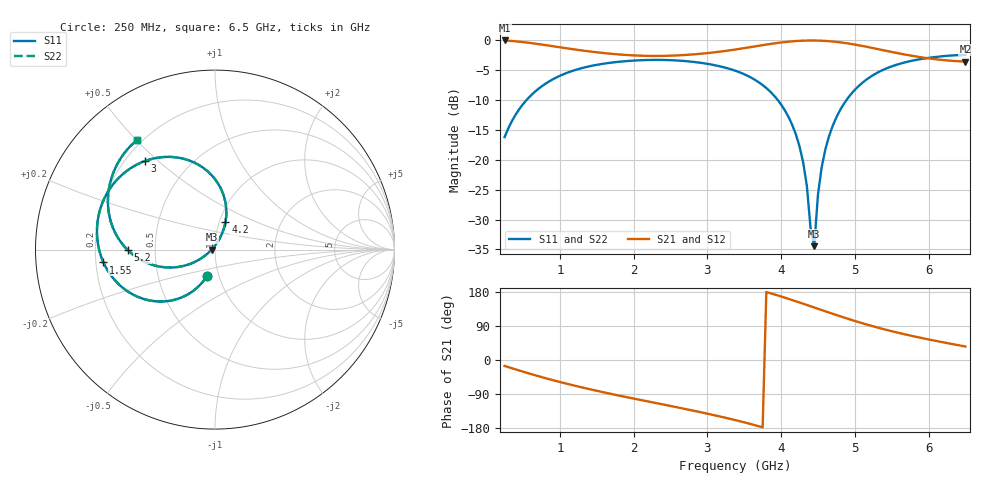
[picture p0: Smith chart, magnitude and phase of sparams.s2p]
! NobuRF kit-ro22-thru: ports 1 "p1", 2 "p2"; 4000 + 4000 steps
# GHz S RI R 50
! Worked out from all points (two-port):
!   126 points, 250 MHz to 6.5 GHz, reference 50 ohm
!   highest |S21| = -0.11 dB at 250 MHz (marker M1); lowest = -3.6 dB at 6.5 GHz (marker M2)
!   |S21| within 3 dB of the highest: start of sweep to 6.01 GHz
!   lowest |S11| = -34.4 dB at 4.45 GHz (marker M3), VSWR 1.04, Z = 48.1 - j0.0416 ohm
!   |S11| at or under -10 dB: start of sweep to 551.5 MHz; 3.952 GHz to 4.89 GHz (938.6 MHz wide, 21.2 % of centre)
!   |S22| runs from -34.4 to -2.5 dB; largest |S21 - S12| = 1e-07
!   S11 on the Smith chart (normalised r, x): 250 MHz: 0.88, -0.26; 1.55 GHz: 0.23, -0.05; 3 GHz: 0.28, +0.45; 4.2 GHz: 1.07, +0.33; 5.2 GHz: 0.35, -0.00; 6.5 GHz: 0.18, +0.50
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0.25  -0.0456 -0.1473  0.9503 -0.2672  0.9503 -0.2672  -0.0456 -0.1473
0.4  -0.102 -0.2146  0.8808 -0.4077  0.8808 -0.4077  -0.102 -0.2146
0.65  -0.2306 -0.2809  0.7193 -0.5912  0.7193 -0.5912  -0.2306 -0.2809
1.3  -0.5535 -0.1756  0.2469 -0.7763  0.2469 -0.7763  -0.5535 -0.1756
1.55  -0.6215 -0.0714  0.0899 -0.7751  0.0899 -0.7751  -0.6215 -0.0714
2.35  -0.6135 0.2915  -0.3151 -0.6623  -0.3151 -0.6623  -0.6135 0.2915
3  -0.3927 0.4925  -0.607 -0.4804  -0.607 -0.4804  -0.3927 0.4925
3.4  -0.194 0.5104  -0.7812 -0.29  -0.7812 -0.29  -0.194 0.5104
3.9  0.0311 0.3432  -0.9257 0.1029  -0.9257 0.1029  0.0311 0.3432
4.2  0.0583 0.1519  -0.8841 0.4121  -0.8841 0.4121  0.0583 0.1519
4.3  0.0382 0.0865  -0.838 0.514  -0.838 0.514  0.0382 0.0865
4.35  0.0226 0.0556  -0.8089 0.5626  -0.8089 0.5626  0.0226 0.0556
4.4  0.0035 0.0265  -0.7758 0.609  -0.7758 0.609  0.0035 0.0265
4.45  -0.019 -0.000432  -0.739 0.6528  -0.739 0.6528  -0.019 -0.000431
4.5  -0.0444 -0.0247  -0.6989 0.6936  -0.6989 0.6936  -0.0444 -0.0247
4.55  -0.0726 -0.0461  -0.6558 0.731  -0.6558 0.731  -0.0726 -0.0461
4.65  -0.1353 -0.0787  -0.5622 0.7946  -0.5622 0.7946  -0.1353 -0.0787
4.85  -0.2738 -0.0992  -0.3588 0.8724  -0.3588 0.8724  -0.2738 -0.0992
5.2  -0.4854 -0.00341  -0.0233 0.8638  -0.0233 0.8638  -0.4854 -0.00341
5.5  -0.5799 0.1532  0.1907 0.7684  0.1907 0.7684  -0.5799 0.1532
5.95  -0.579 0.3912  0.3922 0.5885  0.3922 0.5885  -0.579 0.3912
6.5  -0.4355 0.6095  0.5355 0.3839  0.5355 0.3839  -0.4355 0.6095
